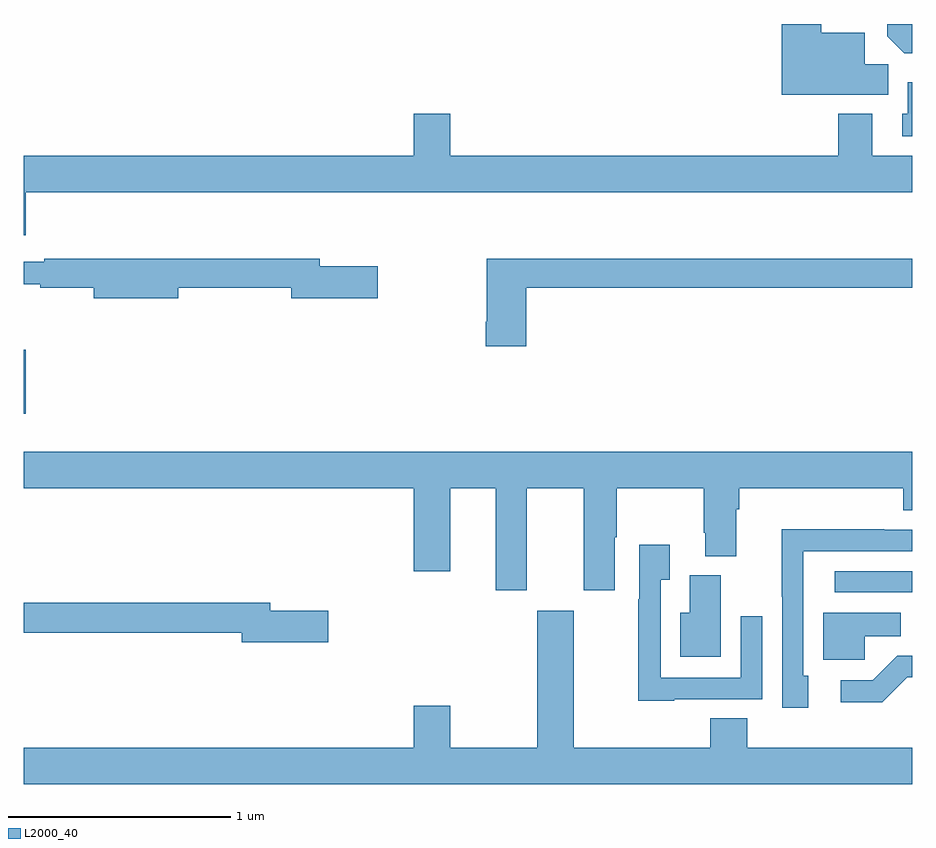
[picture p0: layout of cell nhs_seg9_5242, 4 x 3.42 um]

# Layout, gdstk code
import gdstk
lib = gdstk.Library(unit=1e-6, precision=1e-09)
def R(c, l, rs):  # rectangles x0, y0, x1, y1
    for r in rs: c.add(gdstk.rectangle(r[:2], r[2:], *l))
def P(c, l, *ps):  # polygons
    for p in ps: c.add(gdstk.Polygon(p, *l))
L2000_40 = (2000, 40)

nhs_seg9_5242 = lib.new_cell('nhs_seg9_5242')
R(nhs_seg9_5242, L2000_40, [(418.65,1203.942,419,1204.038), (415,1204.746,415.01,1205.035)])
P(nhs_seg9_5242, L2000_40, [(419,1206.5),(418.886,1206.5),(418.886,1206.446),(418.964,1206.368),(419,1206.368)],
  [(418.891,1206.32),(418.786,1206.32),(418.786,1206.46),(418.59,1206.46),(418.59,1206.5),(418.412,1206.5),(418.412,1206.182),(418.891,1206.182)],
  [(419,1206.238),(418.979,1206.238),(418.979,1206.096),(418.955,1206.096),(418.955,1205.994),(419,1205.994)],
  [(415.01,1205.744),(419,1205.744),(419,1205.908),(418.819,1205.908),(418.819,1206.097),(418.667,1206.097),(418.667,1205.908),(416.92,1205.908),(416.92,1206.097),(416.756,1206.097),(416.756,1205.908),(415,1205.908),(415,1205.55),(415.01,1205.55)],
  [(417.263,1205.314),(419,1205.314),(419,1205.443),(417.085,1205.443),(417.085,1205.161),(417.08,1205.161),(417.08,1205.049),(417.263,1205.049)],
  [(415.696,1205.314),(416.204,1205.314),(416.204,1205.267),(416.593,1205.267),(416.593,1205.409),(416.332,1205.409),(416.332,1205.443),(415.093,1205.443),(415.093,1205.43),(415,1205.43),(415,1205.329),(415.074,1205.329),(415.074,1205.314),(415.316,1205.314),(415.316,1205.267),(415.696,1205.267)],
  [(417.265,1204.412),(417.521,1204.412),(417.521,1203.951),(417.661,1203.951),(417.661,1204.19),(417.669,1204.19),(417.669,1204.412),(418.06,1204.412),(418.06,1204.21),(418.067,1204.21),(418.067,1204.105),(418.207,1204.105),(418.207,1204.316),(418.22,1204.316),(418.22,1204.412),(418.958,1204.412),(418.958,1204.313),(419,1204.313),(419,1204.576),(415,1204.576),(415,1204.412),(416.756,1204.412),(416.756,1204.038),(416.92,1204.038),(416.92,1204.412),(417.125,1204.412),(417.125,1203.951),(417.265,1203.951)],
  [(418.531,1203.567),(418.509,1203.567),(418.509,1204.128),(419,1204.128),(419,1204.224),(418.874,1204.224),(418.874,1204.226),(418.412,1204.226),(418.412,1203.922),(418.413,1203.922),(418.413,1203.423),(418.531,1203.423)],
  [(417.927,1203.462),(418.323,1203.462),(418.323,1203.835),(418.227,1203.835),(418.227,1203.558),(417.867,1203.558),(417.867,1204),(417.907,1204),(417.907,1204.156),(417.771,1204.156),(417.771,1203.911),(417.766,1203.911),(417.766,1203.455),(417.927,1203.455)],
  [(418.138,1204.02),(417.998,1204.02),(417.998,1203.85),(417.956,1203.85),(417.956,1203.653),(418.138,1203.653)],
  [(416.371,1203.86),(416.11,1203.86),(416.11,1203.896),(415,1203.896),(415,1203.76),(415.982,1203.76),(415.982,1203.718),(416.371,1203.718)],
  [(419,1203.244),(418.256,1203.244),(418.256,1203.377),(418.091,1203.377),(418.091,1203.244),(417.475,1203.244),(417.475,1203.859),(417.311,1203.859),(417.311,1203.244),(416.92,1203.244),(416.92,1203.433),(416.756,1203.433),(416.756,1203.244),(415,1203.244),(415,1203.08),(419,1203.08)],
  [(418.785,1203.746),(418.948,1203.746),(418.948,1203.85),(418.598,1203.85),(418.598,1203.639),(418.785,1203.639)],
  [(418.977,1203.561),(419,1203.561),(419,1203.657),(418.932,1203.657),(418.821,1203.546),(418.677,1203.546),(418.677,1203.449),(418.864,1203.449)])

lib.write_gds('nhs_seg9_5242.gds')
